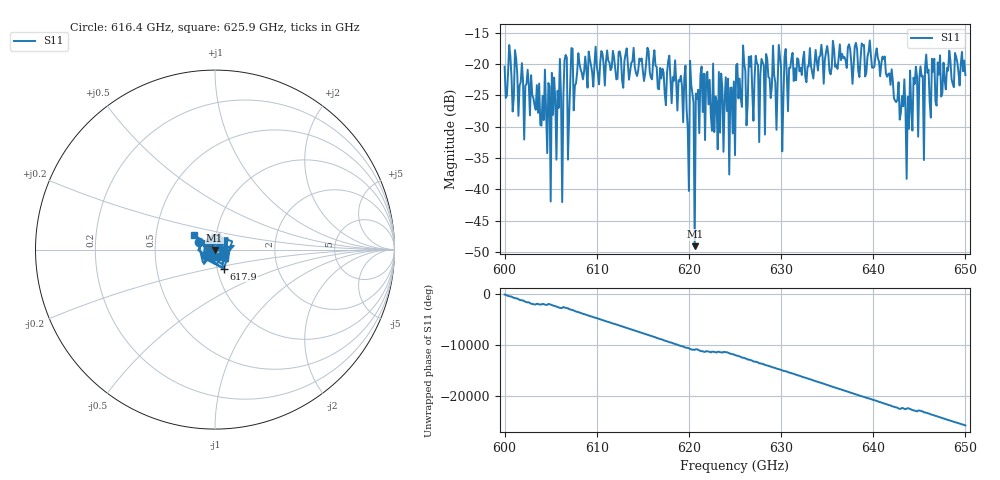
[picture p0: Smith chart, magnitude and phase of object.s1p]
!Created with skrf (http://scikit-rf.org).
# GHz S MA R 50.0
!freq magS11 angS11
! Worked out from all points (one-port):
!   401 points, 600 GHz to 650 GHz, reference 50 ohm
!   lowest |S11| = -49.1 dB at 620.6 GHz (marker M1), VSWR 1.01, Z = 49.7 - j0.238 ohm
!   |S11| at or under -10 dB: start of sweep to end of sweep
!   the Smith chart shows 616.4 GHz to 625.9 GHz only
!   S11 on the Smith chart (normalised r, x): 616.4 GHz: 0.84, +0.07; 617.9 GHz: 1.08, -0.23; 625.9 GHz: 0.78, +0.13
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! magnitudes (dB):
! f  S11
! 600 GHz  -20.4
! 604 GHz  -29.8
! 604.6 GHz  -34.2
! 604.8 GHz  -23.0
! 605.4 GHz  -22.1
! 606.2 GHz  -42.1
! 608.1 GHz  -19.9
! 612.5 GHz  -17.9
! 616.4 GHz  -20.3
! 617.2 GHz  -21.3
! 617.9 GHz  -18.6
! 618.8 GHz  -27.4
! 620.6 GHz  -49.1
! 620.9 GHz  -25.6
! 621 GHz  -24.1
! 621.1 GHz  -31.0
! 622.1 GHz  -26.4
! 623 GHz  -26.0
! 625 GHz  -34.6
! 625.9 GHz  -17.0
! 630.4 GHz  -18.9
! 631.2 GHz  -18.2
! 637.5 GHz  -17.6
! 641.1 GHz  -19.2
! 643.8 GHz  -25.2
! 644.5 GHz  -23.2
! 645.9 GHz  -21.4
! 650 GHz  -21.7
